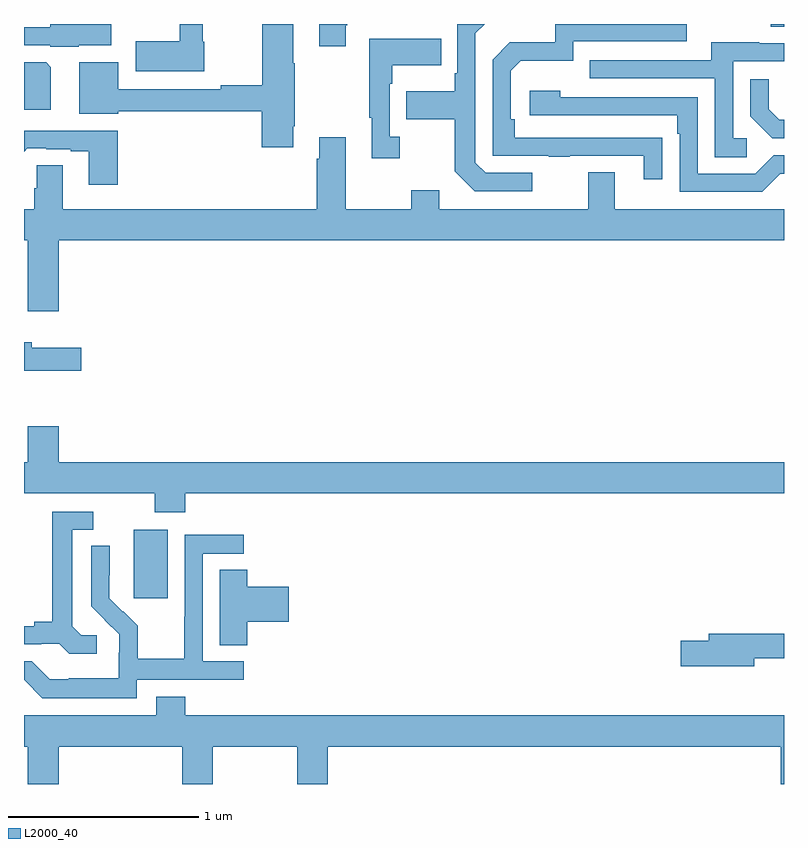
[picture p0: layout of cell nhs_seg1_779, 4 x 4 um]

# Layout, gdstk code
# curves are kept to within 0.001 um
import gdstk
lib = gdstk.Library(unit=1e-6, precision=1e-09)
def R(c, l, rs):  # rectangles x0, y0, x1, y1
    for r in rs: c.add(gdstk.rectangle(r[:2], r[2:], *l))
def P(c, l, *ps):  # polygons
    for p in ps: c.add(gdstk.Polygon(p, *l))
L2000_40 = (2000, 40)

nhs_seg1_779 = lib.new_cell('nhs_seg1_779')
R(nhs_seg1_779, L2000_40, [(153.578,555.177,153.757,555.538), (156.929,558.184,157,558.199)])
P(nhs_seg1_779, L2000_40, [(155.674,557.415),(155.43,557.415),(155.376,557.469),(155.376,558.15),(155.425,558.199),(155.28,558.199),(155.28,557.941),(155.268,557.941),(155.268,557.845),(155.011,557.845),(155.011,557.698),(155.268,557.698),(155.268,557.425),(155.373,557.319),(155.674,557.319)],
  [(154.693,558.193),(154.701,558.193),(154.701,558.199),(154.553,558.199),(154.553,558.081),(154.693,558.081)],
  [(156.359,557.6),(155.582,557.601),(155.582,557.698),(155.562,557.698),(155.562,557.952),(155.615,558.005),(155.892,558.005),(155.892,558.108),(156.487,558.108),(156.487,558.199),(155.796,558.199),(155.796,558.102),(155.556,558.102),(155.466,558.012),(155.466,557.505),(155.761,557.505),(155.761,557.5),(155.873,557.5),(155.873,557.505),(156.263,557.505),(156.263,557.382),(156.359,557.382)],
  [(154.417,557.662),(154.425,557.662),(154.425,557.993),(154.417,557.993),(154.417,558.199),(154.255,558.199),(154.255,557.876),(154.036,557.876),(154.036,557.856),(153.496,557.856),(153.496,557.998),(153.29,557.998),(153.29,557.726),(153.496,557.726),(153.496,557.74),(154.25,557.74),(154.25,557.55),(154.417,557.55)],
  [(153.288,558.086),(153.459,558.086),(153.459,558.199),(153.138,558.199),(153.138,558.183),(153,558.183),(153,558.087),(153.138,558.087),(153.138,558.08),(153.288,558.08)],
  [(153.948,558.105),(153.94,558.105),(153.94,558.199),(153.819,558.199),(153.819,558.109),(153.588,558.109),(153.588,557.951),(153.948,557.951)],
  [(154.978,557.606),(154.926,557.606),(154.926,557.885),(154.939,557.885),(154.939,557.981),(155.195,557.981),(155.195,558.121),(154.818,558.121),(154.818,557.705),(154.829,557.705),(154.829,557.493),(154.978,557.493)],
  [(156.805,557.598),(156.732,557.598),(156.732,558.003),(157,558.003),(157,558.099),(156.871,558.099),(156.871,558.103),(156.617,558.103),(156.617,558.009),(155.977,558.009),(155.977,557.913),(156.636,557.913),(156.636,557.497),(156.805,557.497)],
  [(153.142,557.972),(153.116,557.998),(153,557.998),(153,557.747),(153.142,557.747)],
  [(157,557.694),(156.976,557.694),(156.919,557.751),(156.919,557.908),(156.822,557.908),(156.822,557.714),(156.938,557.598),(157,557.598)],
  [(156.981,557.412),(157,557.412),(157,557.508),(156.945,557.508),(156.849,557.412),(156.546,557.412),(156.546,557.814),(155.822,557.814),(155.822,557.848),(155.661,557.848),(155.661,557.718),(156.437,557.718),(156.437,557.621),(156.45,557.621),(156.45,557.316),(156.885,557.316)],
  [(153.494,557.638),(153,557.638),(153,557.526),(153.018,557.544),(153.118,557.544),(153.118,557.541),(153.245,557.541),(153.245,557.529),(153.341,557.529),(153.341,557.352),(153.494,557.352)],
  [(153.184,557.06),(157,557.06),(157,557.224),(156.109,557.224),(156.109,557.419),(155.969,557.419),(155.969,557.224),(155.185,557.224),(155.185,557.323),(155.038,557.323),(155.038,557.224),(154.693,557.224),(154.693,557.602),(154.553,557.602),(154.553,557.489),(154.541,557.489),(154.541,557.224),(153.205,557.224),(153.205,557.456),(153.066,557.456),(153.066,557.334),(153.053,557.334),(153.053,557.224),(153,557.224),(153,557.06),(153.02,557.06),(153.02,556.686),(153.184,556.686)],
  [(153.301,556.495),(153.04,556.495),(153.04,556.524),(153,556.524),(153,556.373),(153.301,556.373)],
  [(153.848,555.728),(157,555.728),(157,555.892),(153.184,555.892),(153.184,556.081),(153.02,556.081),(153.02,555.892),(153,555.892),(153,555.728),(153.688,555.728),(153.688,555.629),(153.848,555.629)],
  [(153.382,554.982),(153.3,554.982),(153.253,555.029),(153.253,555.537),(153.364,555.537),(153.364,555.633),(153.149,555.633),(153.149,555.053),(153.053,555.053),(153.053,555.03),(153,555.03),(153,554.934),(153.092,554.934),(153.092,554.937),(153.186,554.937),(153.238,554.885),(153.382,554.885)],
  [(153.594,554.748),(154.156,554.748),(154.156,554.844),(153.942,554.844),(153.942,555.411),(154.156,555.411),(154.156,555.51),(153.846,555.51),(153.846,555.08),(153.844,555.08),(153.844,554.857),(153.599,554.857),(153.599,555.031),(153.522,555.108),(153.519,555.105),(153.449,555.176),(153.45,555.452),(153.354,555.452),(153.354,555.134),(153.5,554.986),(153.5,554.889),(153.498,554.889),(153.498,554.755),(153.235,554.755),(153.235,554.751),(153.135,554.751),(153.042,554.844),(153,554.844),(153,554.748),(153.097,554.651),(153.594,554.651)],
  [(154.175,555.053),(154.393,555.053),(154.393,555.236),(154.175,555.236),(154.175,555.326),(154.031,555.326),(154.031,554.929),(154.175,554.929)],
  [(156.844,554.862),(157,554.862),(157,554.99),(156.605,554.99),(156.605,554.954),(156.456,554.954),(156.456,554.819),(156.844,554.819)],
  [(153.184,554.396),(153.833,554.396),(153.833,554.199),(153.993,554.199),(153.993,554.396),(154.438,554.396),(154.438,554.199),(154.598,554.199),(154.598,554.396),(156.983,554.396),(156.983,554.199),(157,554.199),(157,554.56),(153.848,554.56),(153.848,554.659),(153.695,554.659),(153.695,554.56),(153,554.56),(153,554.396),(153.02,554.396),(153.02,554.199),(153.184,554.199)])

lib.write_gds('nhs_seg1_779.gds')
